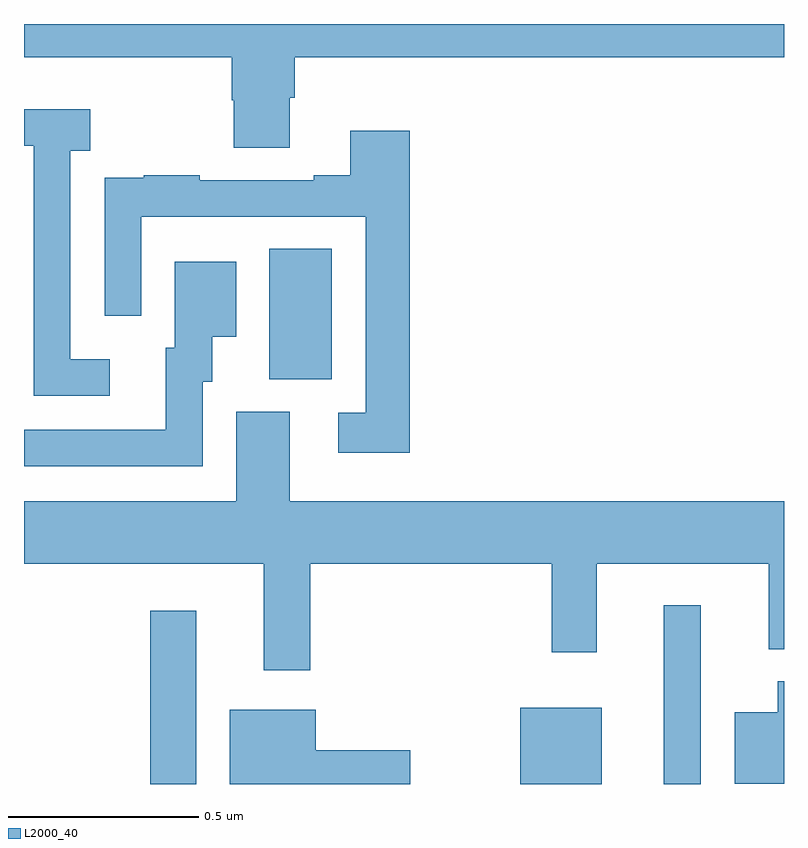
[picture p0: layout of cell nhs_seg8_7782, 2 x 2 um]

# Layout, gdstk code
import gdstk
lib = gdstk.Library(unit=1e-6, precision=1e-09)
def R(c, l, rs):  # rectangles x0, y0, x1, y1
    for r in rs: c.add(gdstk.rectangle(r[:2], r[2:], *l))
def P(c, l, *ps):  # polygons
    for p in ps: c.add(gdstk.Polygon(p, *l))
L2000_40 = (2000, 40)

nhs_seg8_7782 = lib.new_cell('nhs_seg8_7782')
R(nhs_seg8_7782, L2000_40, [(214.332,1135.9,214.453,1136.356), (215.306,1135.9,215.521,1136.101), (215.684,1135.9,215.781,1136.371), (214.646,1136.965,214.81,1137.308)])
P(nhs_seg8_7782, L2000_40, [(214.699,1137.706),(214.712,1137.706),(214.712,1137.812),(216,1137.812),(216,1137.9),(214,1137.9),(214,1137.812),(214.547,1137.812),(214.547,1137.699),(214.552,1137.699),(214.552,1137.574),(214.699,1137.574)],
  [(214.225,1137.018),(214.122,1137.018),(214.122,1137.566),(214.174,1137.566),(214.174,1137.676),(214,1137.676),(214,1137.579),(214.025,1137.579),(214.025,1137.379),(214.026,1137.379),(214.026,1136.922),(214.225,1136.922)],
  [(215.015,1137.619),(214.859,1137.619),(214.859,1137.502),(214.763,1137.502),(214.763,1137.489),(214.463,1137.489),(214.463,1137.502),(214.315,1137.502),(214.315,1137.495),(214.213,1137.495),(214.213,1137.386),(214.212,1137.386),(214.212,1137.132),(214.308,1137.132),(214.308,1137.393),(214.899,1137.393),(214.899,1136.877),(214.827,1136.877),(214.827,1136.772),(215.015,1136.772)],
  [(214.47,1136.958),(214.495,1136.958),(214.495,1137.077),(214.558,1137.077),(214.558,1137.274),(214.397,1137.274),(214.397,1137.048),(214.373,1137.048),(214.373,1136.832),(214,1136.832),(214,1136.736),(214.47,1136.736)],
  [(214.753,1136.48),(215.389,1136.48),(215.389,1136.247),(215.507,1136.247),(215.507,1136.48),(215.96,1136.48),(215.96,1136.255),(216,1136.255),(216,1136.644),(214.699,1136.644),(214.699,1136.88),(214.559,1136.88),(214.559,1136.644),(214,1136.644),(214,1136.48),(214.631,1136.48),(214.631,1136.199),(214.753,1136.199)],
  [(216,1136.17),(215.984,1136.17),(215.984,1136.089),(215.87,1136.089),(215.87,1135.901),(216,1135.901)],
  [(215.017,1135.989),(214.768,1135.989),(214.768,1136.095),(214.541,1136.095),(214.541,1135.9),(215.017,1135.9)])

lib.write_gds('nhs_seg8_7782.gds')
